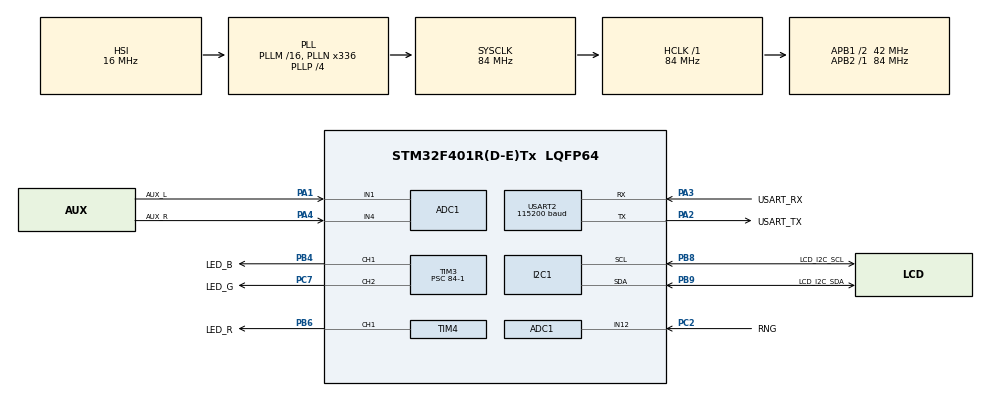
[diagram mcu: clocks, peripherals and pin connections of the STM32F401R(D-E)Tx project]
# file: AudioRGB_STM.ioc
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ADC1.Channel-1\#ChannelRegularConversion=ADC_CHANNEL_1
ADC1.Channel-3\#ChannelRegularConversion=ADC_CHANNEL_4
ADC1.Channel-4\#ChannelRegularConversion=ADC_CHANNEL_12
ADC1.ClockPrescaler=ADC_CLOCK_SYNC_PCLK_DIV4
ADC1.ContinuousConvMode=ENABLE
ADC1.EnableAnalogWatchDog=false
ADC1.NbrOfConversion=3
ADC1.NbrOfConversionFlag=1
ADC1.Rank-1\#ChannelRegularConversion=1
ADC1.Rank-3\#ChannelRegularConversion=2
ADC1.Rank-4\#ChannelRegularConversion=3
ADC1.SamplingTime-1\#ChannelRegularConversion=ADC_SAMPLETIME_3CYCLES
ADC1.SamplingTime-3\#ChannelRegularConversion=ADC_SAMPLETIME_3CYCLES
ADC1.SamplingTime-4\#ChannelRegularConversion=ADC_SAMPLETIME_3CYCLES
ADC1.ScanConvMode=ENABLE
ADC1.master=1
Dma.Request0=TIM3_CH2
Dma.Request1=TIM3_CH1/TRIG
Dma.Request2=TIM4_CH1
Dma.TIM3_CH1/TRIG.1.Direction=DMA_MEMORY_TO_PERIPH
Dma.TIM3_CH1/TRIG.1.FIFOMode=DMA_FIFOMODE_DISABLE
Dma.TIM3_CH1/TRIG.1.Instance=DMA1_Stream4
Dma.TIM3_CH1/TRIG.1.MemDataAlignment=DMA_MDATAALIGN_HALFWORD
Dma.TIM3_CH1/TRIG.1.MemInc=DMA_MINC_ENABLE
Dma.TIM3_CH1/TRIG.1.Mode=DMA_NORMAL
Dma.TIM3_CH1/TRIG.1.PeriphDataAlignment=DMA_PDATAALIGN_HALFWORD
Dma.TIM3_CH1/TRIG.1.PeriphInc=DMA_PINC_DISABLE
Dma.TIM3_CH1/TRIG.1.Priority=DMA_PRIORITY_HIGH
Dma.TIM3_CH2.0.Direction=DMA_MEMORY_TO_PERIPH
Dma.TIM3_CH2.0.FIFOMode=DMA_FIFOMODE_DISABLE
Dma.TIM3_CH2.0.Instance=DMA1_Stream5
Dma.TIM3_CH2.0.MemDataAlignment=DMA_MDATAALIGN_HALFWORD
Dma.TIM3_CH2.0.MemInc=DMA_MINC_ENABLE
Dma.TIM3_CH2.0.Mode=DMA_NORMAL
Dma.TIM3_CH2.0.PeriphDataAlignment=DMA_PDATAALIGN_HALFWORD
Dma.TIM3_CH2.0.PeriphInc=DMA_PINC_DISABLE
Dma.TIM3_CH2.0.Priority=DMA_PRIORITY_HIGH
Dma.TIM4_CH1.2.Direction=DMA_MEMORY_TO_PERIPH
Dma.TIM4_CH1.2.FIFOMode=DMA_FIFOMODE_DISABLE
Dma.TIM4_CH1.2.Instance=DMA1_Stream0
Dma.TIM4_CH1.2.MemDataAlignment=DMA_MDATAALIGN_HALFWORD
Dma.TIM4_CH1.2.MemInc=DMA_MINC_ENABLE
Dma.TIM4_CH1.2.Mode=DMA_NORMAL
Dma.TIM4_CH1.2.PeriphDataAlignment=DMA_PDATAALIGN_HALFWORD
Dma.TIM4_CH1.2.PeriphInc=DMA_PINC_DISABLE
Dma.TIM4_CH1.2.Priority=DMA_PRIORITY_HIGH
Mcu.Family=STM32F4
Mcu.Name=STM32F401R(D-E)Tx
Mcu.Package=LQFP64
NVIC.DMA1_Stream0_IRQn=true\:0\:0\:false\:false\:true\:false\:true
NVIC.DMA1_Stream4_IRQn=true\:0\:0\:false\:false\:true\:false\:true
NVIC.DMA1_Stream5_IRQn=true\:0\:0\:false\:false\:true\:false\:true
NVIC.PriorityGroup=NVIC_PRIORITYGROUP_0
PA1.GPIO_Label=AUX_L
PA1.Signal=ADCx_IN1
PA13.GPIO_Label=TMS
PA13.Mode=Serial_Wire
PA13.Signal=SYS_JTMS-SWDIO
PA14.GPIO_Label=TCK
PA14.Mode=Serial_Wire
PA14.Signal=SYS_JTCK-SWCLK
PA2.GPIO_Label=USART_TX
PA2.GPIO_Mode=GPIO_MODE_AF_PP
PA2.GPIO_PuPd=GPIO_NOPULL
PA2.GPIO_Speed=GPIO_SPEED_FREQ_LOW
PA2.Mode=Asynchronous
PA2.Signal=USART2_TX
PA3.GPIO_Label=USART_RX
PA3.GPIO_Mode=GPIO_MODE_AF_PP
PA3.GPIO_PuPd=GPIO_NOPULL
PA3.GPIO_Speed=GPIO_SPEED_FREQ_LOW
PA3.Mode=Asynchronous
PA3.Signal=USART2_RX
PA4.GPIO_Label=AUX_R
PA4.Signal=ADCx_IN4
PB3.GPIO_Label=SWO
PB3.Signal=SYS_JTDO-SWO
PB4.GPIO_Label=LED_B
PB4.GPIO_PuPd=GPIO_PULLDOWN
PB4.GPIO_Speed=GPIO_SPEED_FREQ_HIGH
PB4.Signal=S_TIM3_CH1
PB6.GPIO_Label=LED_R
PB6.GPIO_PuPd=GPIO_PULLDOWN
PB6.GPIO_Speed=GPIO_SPEED_FREQ_HIGH
PB6.Signal=S_TIM4_CH1
PB8.GPIO_Label=LCD_I2C_SCL
PB8.GPIO_Pu=GPIO_PULLUP
PB8.GPIO_Speed=GPIO_SPEED_FREQ_HIGH
PB8.Mode=I2C
PB8.Signal=I2C1_SCL
PB9.GPIO_Label=LCD_I2C_SDA
PB9.GPIO_Pu=GPIO_PULLUP
PB9.GPIO_Speed=GPIO_SPEED_FREQ_HIGH
PB9.Mode=I2C
PB9.Signal=I2C1_SDA
PC14-OSC32_IN.Mode=LSE-External-Oscillator
PC14-OSC32_IN.Signal=RCC_OSC32_IN
PC15-OSC32_OUT.Mode=LSE-External-Oscillator
PC15-OSC32_OUT.Signal=RCC_OSC32_OUT
PC2.GPIO_Label=RNG
PC2.Signal=ADCx_IN12
PC7.GPIO_Label=LED_G
PC7.GPIO_PuPd=GPIO_PULLDOWN
PC7.GPIO_Speed=GPIO_SPEED_FREQ_HIGH
PC7.Signal=S_TIM3_CH2
PH0\ -\ OSC_IN.Mode=HSE-External-Clock-Source
PH0\ -\ OSC_IN.Signal=RCC_OSC_IN
PH1\ -\ OSC_OUT.Mode=HSE-External-Clock-Source
PH1\ -\ OSC_OUT.Signal=RCC_OSC_OUT
ProjectManager.HeapSize=0x200
ProjectManager.StackSize=0x400
ProjectManager.TargetToolchain=STM32CubeIDE
RCC.48MHZClocksFreq_Value=48000000
RCC.AHBFreq_Value=84000000
RCC.APB1CLKDivider=RCC_HCLK_DIV2
RCC.APB1Freq_Value=42000000
RCC.APB1TimFreq_Value=84000000
RCC.APB2Freq_Value=84000000
RCC.APB2TimFreq_Value=84000000
RCC.CortexFreq_Value=84000000
RCC.HCLKFreq_Value=84000000
RCC.HSE_VALUE=8000000
RCC.HSI_VALUE=16000000
RCC.PLLN=336
RCC.PLLP=RCC_PLLP_DIV4
RCC.PLLQ=7
RCC.SYSCLKFreq_VALUE=84000000
RCC.SYSCLKSource=RCC_SYSCLKSOURCE_PLLCLK
RCC.VCOOutputFreq_Value=336000000
SH.ADCx_IN1.0=ADC1_IN1,IN1
SH.ADCx_IN12.0=ADC1_IN12,IN12
SH.ADCx_IN4.0=ADC1_IN4,IN4
SH.S_TIM3_CH1.0=TIM3_CH1,PWM Generation1 CH1
SH.S_TIM3_CH2.0=TIM3_CH2,PWM Generation2 CH2
SH.S_TIM4_CH1.0=TIM4_CH1,PWM Generation1 CH1
TIM1.Period=0
TIM1.Prescaler=0
TIM3.Channel-PWM\ Generation1\ CH1=TIM_CHANNEL_1
TIM3.Channel-PWM\ Generation2\ CH2=TIM_CHANNEL_2
TIM3.CounterMode=TIM_COUNTERMODE_UP
TIM3.OCMode_PWM-PWM\ Generation1\ CH1=TIM_OCMODE_PWM1
TIM3.Period=255-1
TIM3.Prescaler=84-1
TIM3.Pulse-PWM\ Generation1\ CH1=255
TIM3.Pulse-PWM\ Generation2\ CH2=255
TIM4.Channel-PWM\ Generation1\ CH1=TIM_CHANNEL_1
TIM4.Period=255-1
TIM4.Prescaler=84-1
TIM4.Pulse-PWM\ Generation1\ CH1=255
USART2.BaudRate=115200
USART2.Mode=MODE_TX
USART2.VirtualMode=VM_ASYNC
USART2.WordLength=WORDLENGTH_8B
VP_TIM1_VS_ClockSourceINT.Mode=Internal
VP_TIM2_VS_ClockSourceINT.Mode=Internal
VP_TIM3_VS_ClockSourceINT.Mode=Internal
board=NUCLEO-F401RE

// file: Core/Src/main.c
/* USER CODE BEGIN Header */
/**
  ******************************************************************************
  * @file           : main.c
  * @brief          : Main program body
  ******************************************************************************
  * @attention
  *
  * Copyright (c) 2022 STMicroelectronics.
  * All rights reserved.
  *
  * This software is licensed under terms that can be found in the LICENSE file
  * in the root directory of this software component.
  * If no LICENSE file comes with this software, it is provided AS-IS.
  *
  ******************************************************************************
  */
/* USER CODE END Header */
#include "main.h"
#include "adc.h"
#include "dma.h"
#include "i2c.h"
#include "tim.h"
#include "usart.h"
#include "gpio.h"

/* USER CODE BEGIN Includes */
#include "config.h"
#include "functions.h"

#include <string.h>
#include <stdlib.h>
#include <stdio.h>
/* USER CODE END Includes */

void SystemClock_Config(void);

int main(void)
{
  /* USER CODE BEGIN 1 */
	// left audio channel
	int *buffArrL = (int *)malloc(BUFFER_SIZE_AUX * sizeof(int));
	emptyArray(buffArrL, BUFFER_SIZE_AUX);
	size_t buffIndL = 0;
	int auxValL = 0, auxFilterL = 0;

	// right audio channel
	int *buffArrR = (int *)malloc(BUFFER_SIZE_AUX * sizeof(int));
	emptyArray(buffArrR, BUFFER_SIZE_AUX);
	size_t buffIndR = 0;
	int auxValR = 0, auxFilterR = 0;

	// rgb led (uint8_t doesn't work)
	int *rgbArr = (int *)malloc(CHANNEL_COUNT_RGB * sizeof(int));
	emptyArray(rgbArr, CHANNEL_COUNT_RGB);
	int r = 0, g = 0, b = 0;
	size_t colSel = 0, colSelPrev = 0;
	int colVal = 0, colValPrev = 0;

	// nanokernel tick counter
	uint32_t ticks = 0;

	// uart message transmit buffer
	char buffMsg[20];
  /* USER CODE END 1 */

  /* MCU Configuration--------------------------------------------------------*/

  /* Reset of all peripherals, Initializes the Flash interface and the Systick. */
  HAL_Init();

  /* Configure the system clock */
  SystemClock_Config();

  /* Initialize all configured peripherals */
  MX_GPIO_Init();
  MX_USART2_UART_Init();
  MX_DMA_Init();
  MX_ADC1_Init();
  MX_I2C1_Init();
  MX_TIM1_Init();
  MX_TIM2_Init();
  MX_TIM3_Init();
  MX_TIM4_Init();
  /* USER CODE BEGIN 2 */
	// setup rgb led
	HAL_TIM_PWM_Start(&htim4, TIM_CHANNEL_1);
	HAL_TIM_PWM_Start(&htim3, TIM_CHANNEL_2);
	HAL_TIM_PWM_Start(&htim3, TIM_CHANNEL_1);
	writeRGB(r, g, b);
  /* USER CODE END 2 */

  /* Infinite loop */
  /* USER CODE BEGIN WHILE */
	while (1)
	{
		// get left audio channel from adc
		ADC_Select_CH1();
		HAL_ADC_Start(&hadc1);
		if (HAL_ADC_PollForConversion(&hadc1, TIMEOUT_ADC) == HAL_OK)
		{
			auxValL = HAL_ADC_GetValue(&hadc1);
			HAL_ADC_Stop(&hadc1);
			// write buffer and apply filter
			bufferAppend(auxValL, buffArrL, &buffIndL);
			auxFilterL = bufferFilter(buffArrL);
		}

		// get right audio channel from adc
		ADC_Select_CH4();
		HAL_ADC_Start(&hadc1);
		if (HAL_ADC_PollForConversion(&hadc1, TIMEOUT_ADC) == HAL_OK)
		{
			auxValR = HAL_ADC_GetValue(&hadc1);
			HAL_ADC_Stop(&hadc1);
			// write buffer and apply filter
			bufferAppend(auxValR, buffArrR, &buffIndR);
			auxFilterR = bufferFilter(buffArrR);
		}

		// generate color
		r = generator(auxFilterL);
		g = 5;
		b = generator(auxFilterR);

		// write rgb
		writeRGB(r, g, b);

		// debug via uart
		if (DEBUG)
		{
			sprintf(
				buffMsg,
				"%d,%d,%d,%d\n",
				auxValR,
				auxFilterR,
				b,
				saturate(b)
			);
			HAL_UART_Transmit(&huart2, (uint8_t *)buffMsg, strlen(buffMsg), HAL_MAX_DELAY);
		}

		// update nanokernel tick and wait
		ticks++;
		HAL_Delay(DELAY);
    /* USER CODE END WHILE */

	}
}

void SystemClock_Config(void)
{
  RCC_OscInitTypeDef RCC_OscInitStruct = {0};
  RCC_ClkInitTypeDef RCC_ClkInitStruct = {0};

  /** Configure the main internal regulator output voltage
  */
  __HAL_RCC_PWR_CLK_ENABLE();
  __HAL_PWR_VOLTAGESCALING_CONFIG(PWR_REGULATOR_VOLTAGE_SCALE2);
  /** Initializes the RCC Oscillators according to the specified parameters
  * in the RCC_OscInitTypeDef structure.
  */
  RCC_OscInitStruct.OscillatorType = RCC_OSCILLATORTYPE_HSI;
  RCC_OscInitStruct.HSIState = RCC_HSI_ON;
  RCC_OscInitStruct.HSICalibrationValue = RCC_HSICALIBRATION_DEFAULT;
  RCC_OscInitStruct.PLL.PLLState = RCC_PLL_ON;
  RCC_OscInitStruct.PLL.PLLSource = RCC_PLLSOURCE_HSI;
  RCC_OscInitStruct.PLL.PLLM = 16;
  RCC_OscInitStruct.PLL.PLLN = 336;
  RCC_OscInitStruct.PLL.PLLP = RCC_PLLP_DIV4;
  RCC_OscInitStruct.PLL.PLLQ = 7;
  if (HAL_RCC_OscConfig(&RCC_OscInitStruct) != HAL_OK)
  {
    Error_Handler();
  }
  /** Initializes the CPU, AHB and APB buses clocks
  */
  RCC_ClkInitStruct.ClockType = RCC_CLOCKTYPE_HCLK|RCC_CLOCKTYPE_SYSCLK
                              |RCC_CLOCKTYPE_PCLK1|RCC_CLOCKTYPE_PCLK2;
  RCC_ClkInitStruct.SYSCLKSource = RCC_SYSCLKSOURCE_PLLCLK;
  RCC_ClkInitStruct.AHBCLKDivider = RCC_SYSCLK_DIV1;
  RCC_ClkInitStruct.APB1CLKDivider = RCC_HCLK_DIV2;
  RCC_ClkInitStruct.APB2CLKDivider = RCC_HCLK_DIV1;

  if (HAL_RCC_ClockConfig(&RCC_ClkInitStruct, FLASH_LATENCY_2) != HAL_OK)
  {
    Error_Handler();
  }
}

void Error_Handler(void)
{
  __disable_irq();
  while (1)
  {
  }
}
